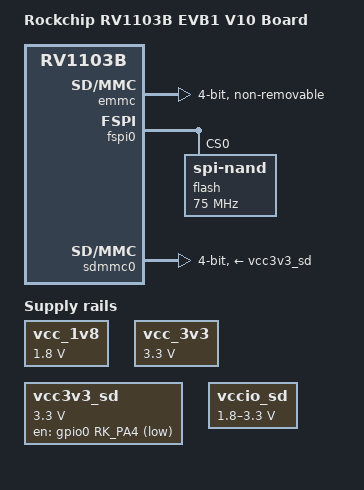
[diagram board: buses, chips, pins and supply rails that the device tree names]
// SPDX-License-Identifier: (GPL-2.0+ OR MIT)
/*
 * Copyright (c) 2024 Rockchip Electronics Co., Ltd.
 */

/dts-v1/;

#include "rv1103b.dtsi"
#include "rv1103b-evb.dtsi"
#include "rv1103b-evb-cam.dtsi"

/ {
	model = "Rockchip RV1103B EVB1 V10 Board";
	compatible = "rockchip,rv1103b-evb1-v10", "rockchip,rv1103b";

	vcc_1v8: vcc-1v8 {
		compatible = "regulator-fixed";
		regulator-name = "vcc_1v8";
		regulator-always-on;
		regulator-boot-on;
		regulator-min-microvolt = <1800000>;
		regulator-max-microvolt = <1800000>;
	};

	vcc_3v3: vcc-3v3 {
		compatible = "regulator-fixed";
		regulator-name = "vcc_3v3";
		regulator-always-on;
		regulator-boot-on;
		regulator-min-microvolt = <3300000>;
		regulator-max-microvolt = <3300000>;
	};

	vcc3v3_sd: vcc3v3-sd {
		compatible = "regulator-fixed";
		gpio = <&gpio0 RK_PA4 GPIO_ACTIVE_LOW>;
		regulator-name = "vcc3v3_sd";
		regulator-min-microvolt = <3300000>;
		regulator-max-microvolt = <3300000>;
		pinctrl-names = "default";
		pinctrl-0 = <&sdmmc_pwren>;
	};

	vccio_sd: vccio-sd {
		compatible = "regulator-gpio";
		regulator-name = "vccio_sd";
		regulator-min-microvolt = <1800000>;
		regulator-max-microvolt = <3300000>;
		gpios = <&gpio0 RK_PA3 GPIO_ACTIVE_HIGH>;
		states = <3300000 1
			  1800000 0>;
		pinctrl-names = "default";
		pinctrl-0 = <&sdmmc_volt>;
	};
};

&pinctrl {
	sdmmc {
		/omit-if-no-ref/
		sdmmc_pwren: sdmmc-pwren {
			rockchip,pins = <0 RK_PA4 RK_FUNC_GPIO &pcfg_pull_none>;
		};

		/omit-if-no-ref/
		sdmmc_volt: sdmmc-volt {
			rockchip,pins = <0 RK_PA3 RK_FUNC_GPIO &pcfg_pull_none>;
		};
	};
};

&emmc {
	no-sdio;
	no-sd;
	bus-width = <4>;
	cap-mmc-highspeed;
	non-removable;
	mmc-hs200-1_8v;
	status = "okay";
};

&fspi0 {
	status = "okay";

	flash@0 {
		compatible = "spi-nand";
		reg = <0>;
		spi-max-frequency = <75000000>;
		spi-rx-bus-width = <4>;
		spi-tx-bus-width = <1>;
	};
};

&sdmmc0 {
	no-sdio;
	no-mmc;
	bus-width = <4>;
	cap-mmc-highspeed;
	cap-sd-highspeed;
	disable-wp;
	sd-uhs-sdr104;
	vmmc-supply = <&vcc3v3_sd>;
	vqmmc-supply = <&vccio_sd>;
	status = "okay";
};

